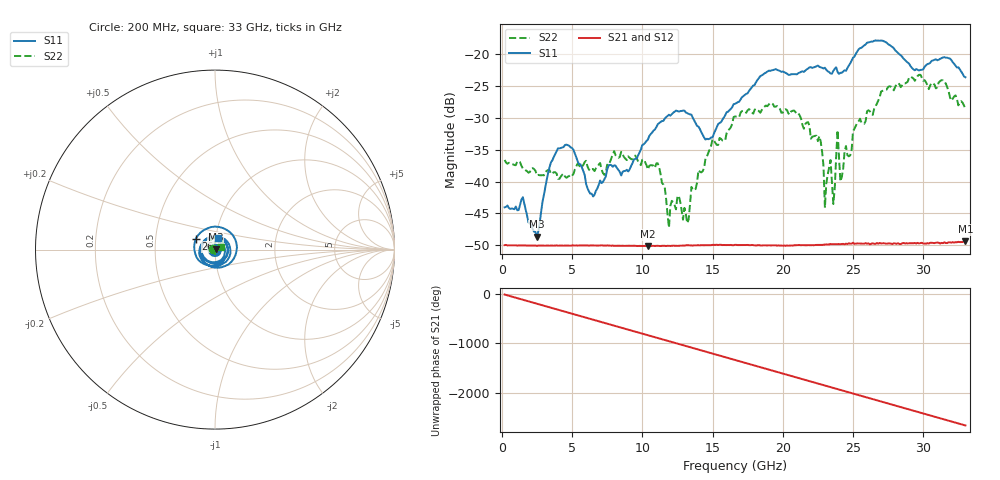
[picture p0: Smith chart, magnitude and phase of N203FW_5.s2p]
# GHZ S RI R 50
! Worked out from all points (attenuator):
!   329 points, 200 MHz to 33 GHz, reference 50 ohm
!   highest |S21| = -49.39 dB at 33 GHz (marker M1); lowest = -50.1 dB at 10.4 GHz (marker M2)
!   lowest |S11| = -48.6 dB at 2.5 GHz (marker M3), VSWR 1.01, Z = 50.3 + j0.155 ohm
!   |S11| at or under -10 dB: start of sweep to end of sweep
!   |S22| runs from -47.2 to -23.2 dB; largest |S21 - S12| = 8.8e-05
!   S11 on the Smith chart (normalised r, x): 200 MHz: 1.01, +0.00; 26 GHz: 0.80, +0.10; 33 GHz: 1.02, +0.13
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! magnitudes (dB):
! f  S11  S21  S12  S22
! 200 MHz  -44.0  -50.0  -49.9  -36.6
! 2.5 GHz  -48.6  -50.1  -50.0  -39.0
! 4 GHz  -34.8  -50.0  -50.0  -39.6
! 5.7 GHz  -37.8  -50.0  -50.0  -37.7
! 6.5 GHz  -42.3  -50.0  -50.0  -38.0
! 10.4 GHz  -33.4  -50.1  -50.1  -38.1
! 11.2 GHz  -30.8  -50.1  -50.1  -37.8
! 11.9 GHz  -29.5  -50.1  -50.0  -47.2
! 12.6 GHz  -29.0  -50.1  -50.0  -42.2
! 13.2 GHz  -29.3  -50.0  -50.0  -46.5
! 14.7 GHz  -33.3  -50.0  -50.0  -35.5
! 16.6 GHz  -27.8  -49.9  -49.9  -29.8
! 22.1 GHz  -22.1  -50.0  -49.9  -33.0
! 22.7 GHz  -22.0  -49.9  -49.9  -33.7
! 23 GHz  -22.1  -49.9  -49.9  -44.1
! 23.4 GHz  -23.0  -49.8  -49.8  -36.6
! 23.6 GHz  -22.6  -49.8  -49.8  -43.5
! 23.9 GHz  -22.8  -49.8  -49.8  -31.9
! 24.1 GHz  -22.9  -49.8  -49.8  -40.0
! 26 GHz  -18.2  -49.8  -49.7  -29.0
! 27.6 GHz  -18.5  -49.7  -49.7  -25.0
! 33 GHz  -23.6  -49.4  -49.4  -28.6
